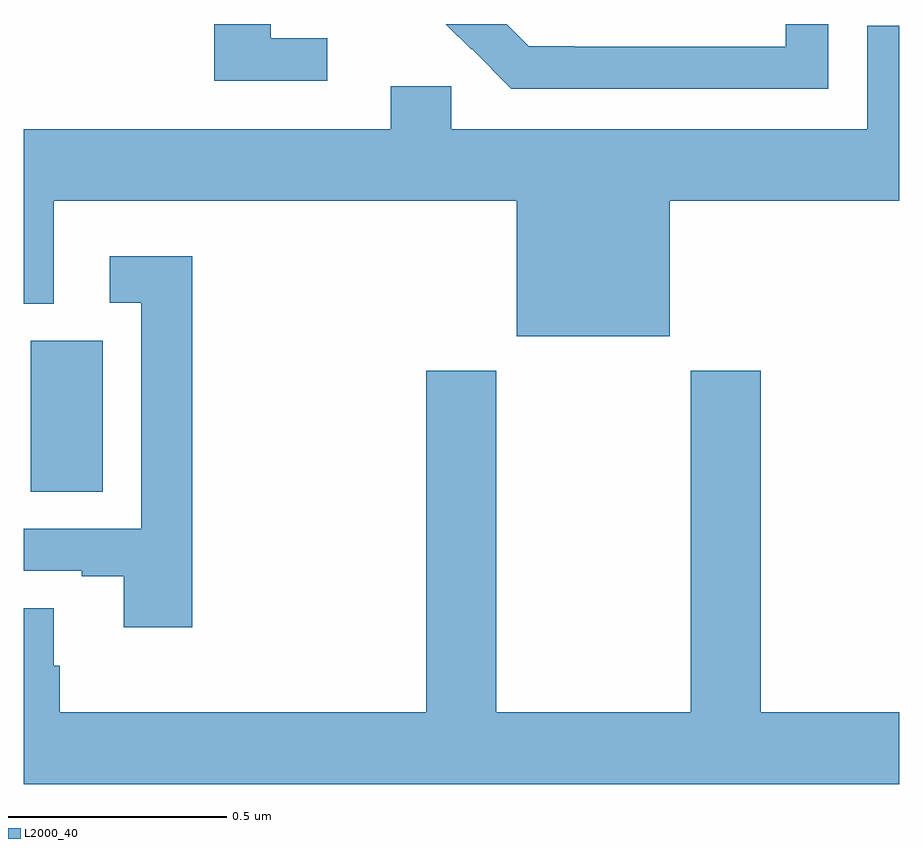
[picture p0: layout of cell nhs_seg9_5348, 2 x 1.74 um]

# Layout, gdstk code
import gdstk
lib = gdstk.Library(unit=1e-6, precision=1e-09)
def R(c, l, rs):  # rectangles x0, y0, x1, y1
    for r in rs: c.add(gdstk.rectangle(r[:2], r[2:], *l))
def P(c, l, *ps):  # polygons
    for p in ps: c.add(gdstk.Polygon(p, *l))
L2000_40 = (2000, 40)

nhs_seg9_5348 = lib.new_cell('nhs_seg9_5348')
R(nhs_seg9_5348, L2000_40, [(178.016,1186.432,178.18,1186.776)])
P(nhs_seg9_5348, L2000_40, [(178.693,1187.467),(178.564,1187.467),(178.564,1187.5),(178.435,1187.5),(178.435,1187.37),(178.693,1187.37)],
  [(179.838,1187.5),(179.741,1187.5),(179.741,1187.448),(179.257,1187.448),(179.257,1187.449),(179.154,1187.449),(179.103,1187.5),(178.964,1187.5),(179.022,1187.442),(179.023,1187.443),(179.114,1187.352),(179.838,1187.352)],
  [(179.476,1187.096),(180,1187.096),(180,1187.496),(179.927,1187.496),(179.927,1187.26),(178.977,1187.26),(178.977,1187.358),(178.838,1187.358),(178.838,1187.26),(178,1187.26),(178,1186.861),(178.069,1186.861),(178.069,1187.096),(179.126,1187.096),(179.126,1186.787),(179.476,1186.787)],
  [(178.385,1186.969),(178.197,1186.969),(178.197,1186.863),(178.269,1186.863),(178.269,1186.347),(178,1186.347),(178,1186.251),(178.133,1186.251),(178.133,1186.239),(178.229,1186.239),(178.229,1186.122),(178.385,1186.122)],
  [(180,1185.928),(179.684,1185.928),(179.684,1186.708),(179.524,1186.708),(179.524,1185.928),(179.079,1185.928),(179.079,1186.708),(178.919,1186.708),(178.919,1185.928),(178.082,1185.928),(178.082,1186.034),(178.069,1186.034),(178.069,1186.166),(178,1186.166),(178,1185.764),(180,1185.764)])

lib.write_gds('nhs_seg9_5348.gds')
